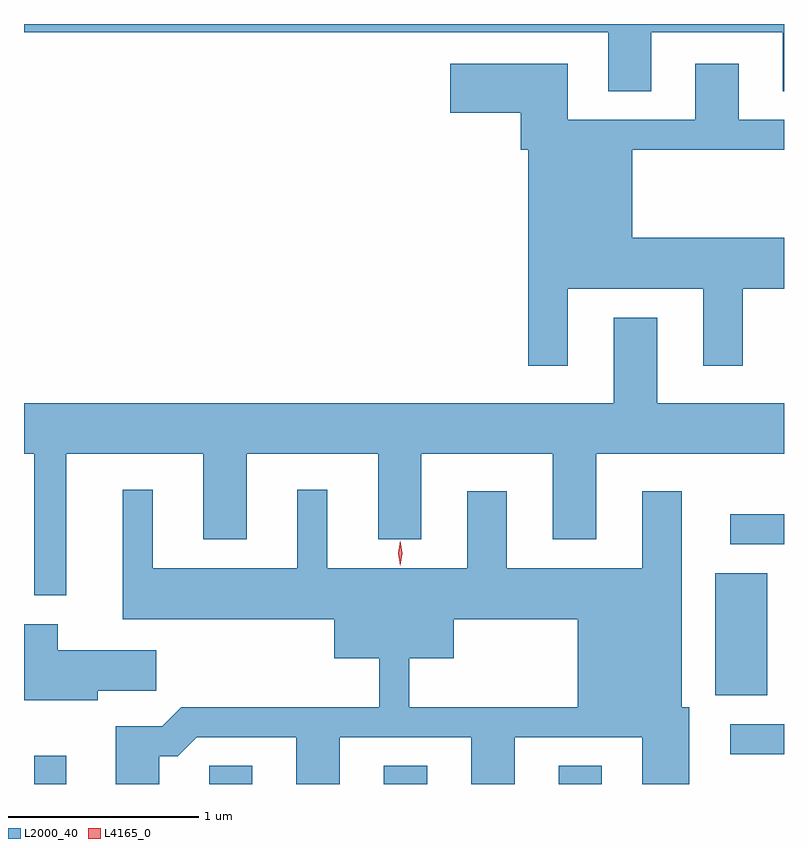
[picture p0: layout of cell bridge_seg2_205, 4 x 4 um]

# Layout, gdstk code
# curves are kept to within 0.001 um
import gdstk
lib = gdstk.Library(unit=1e-6, precision=1e-09)
def R(c, l, rs):  # rectangles x0, y0, x1, y1
    for r in rs: c.add(gdstk.rectangle(r[:2], r[2:], *l))
def A(c, l, x, y, w, h, nx, ny, dx, dy):  # array of equal rectangles
    R(c, l, [(x+i*dx, y+j*dy, x+i*dx+w, y+j*dy+h) for i in range(nx) for j in range(ny)])
def P(c, l, *ps):  # polygons
    for p in ps: c.add(gdstk.Polygon(p, *l))
L2000_40 = (2000, 40)
L4165_0 = (4165, 0)

bridge_seg2_205 = lib.new_cell('bridge_seg2_205')
A(bridge_seg2_205, L2000_40, 1059.501, 993.299, 0.228, 0.095, 3, 1, 0.92, 0)
R(bridge_seg2_205, L2000_40, [(1058.581,993.299,1058.749,993.448), (1062.243,993.456,1062.527,993.614), (1062.166,993.766,1062.439,994.409), (1062.243,994.561,1062.527,994.719)])
P(bridge_seg2_205, L2000_40, [(1061.829,997.256),(1062.521,997.256),(1062.521,996.946),(1062.527,996.946),(1062.527,997.299),(1058.527,997.299),(1058.527,997.256),(1061.601,997.256),(1061.601,996.946),(1061.829,996.946)],
  [(1061.389,995.906),(1062.101,995.906),(1062.101,995.501),(1062.309,995.501),(1062.309,995.906),(1062.527,995.906),(1062.527,996.174),(1061.729,996.174),(1061.729,996.636),(1062.527,996.636),(1062.527,996.794),(1062.289,996.794),(1062.289,997.089),(1062.061,997.089),(1062.061,996.794),(1061.389,996.794),(1061.389,997.089),(1060.771,997.089),(1060.771,996.831),(1061.141,996.831),(1061.141,996.636),(1061.181,996.636),(1061.181,995.501),(1061.389,995.501)],
  [(1058.527,995.036),(1058.581,995.036),(1058.581,994.293),(1058.749,994.293),(1058.749,995.036),(1059.471,995.036),(1059.471,994.586),(1059.699,994.586),(1059.699,995.036),(1060.391,995.036),(1060.391,994.586),(1060.619,994.586),(1060.619,995.036),(1061.311,995.036),(1061.311,994.586),(1061.539,994.586),(1061.539,995.036),(1062.527,995.036),(1062.527,995.304),(1061.859,995.304),(1061.859,995.754),(1061.631,995.754),(1061.631,995.304),(1058.527,995.304)],
  [(1059.239,993.446),(1059.337,993.446),(1059.437,993.546),(1059.961,993.546),(1059.961,993.299),(1060.189,993.299),(1060.189,993.546),(1060.881,993.546),(1060.881,993.299),(1061.109,993.299),(1061.109,993.546),(1061.781,993.546),(1061.781,993.299),(1062.029,993.299),(1062.029,993.704),(1061.989,993.704),(1061.989,994.839),(1061.781,994.839),(1061.781,994.434),(1061.069,994.434),(1061.069,994.839),(1060.861,994.839),(1060.861,994.434),(1060.124,994.434),(1060.124,994.848),(1059.966,994.848),(1059.966,994.434),(1059.204,994.434),(1059.204,994.848),(1059.046,994.848),(1059.046,994.166),(1060.161,994.166),(1060.161,993.961),(1060.396,993.961),(1060.396,993.704),(1060.554,993.704),(1060.554,993.961),(1060.789,993.961),(1060.789,994.166),(1061.441,994.166),(1061.441,993.704),(1059.354,993.704),(1059.254,993.604),(1059.011,993.604),(1059.011,993.299),(1059.239,993.299)],
  [(1058.914,993.791),(1059.224,993.791),(1059.224,994.004),(1058.704,994.004),(1058.704,994.139),(1058.527,994.139),(1058.527,993.741),(1058.914,993.741)])
P(bridge_seg2_205, L4165_0, [(1060.507,994.447),(1060.506,994.448),(1060.497,994.513),(1060.506,994.579),(1060.507,994.579),(1060.507,994.579),(1060.517,994.513),(1060.507,994.448)])

lib.write_gds('bridge_seg2_205.gds')
